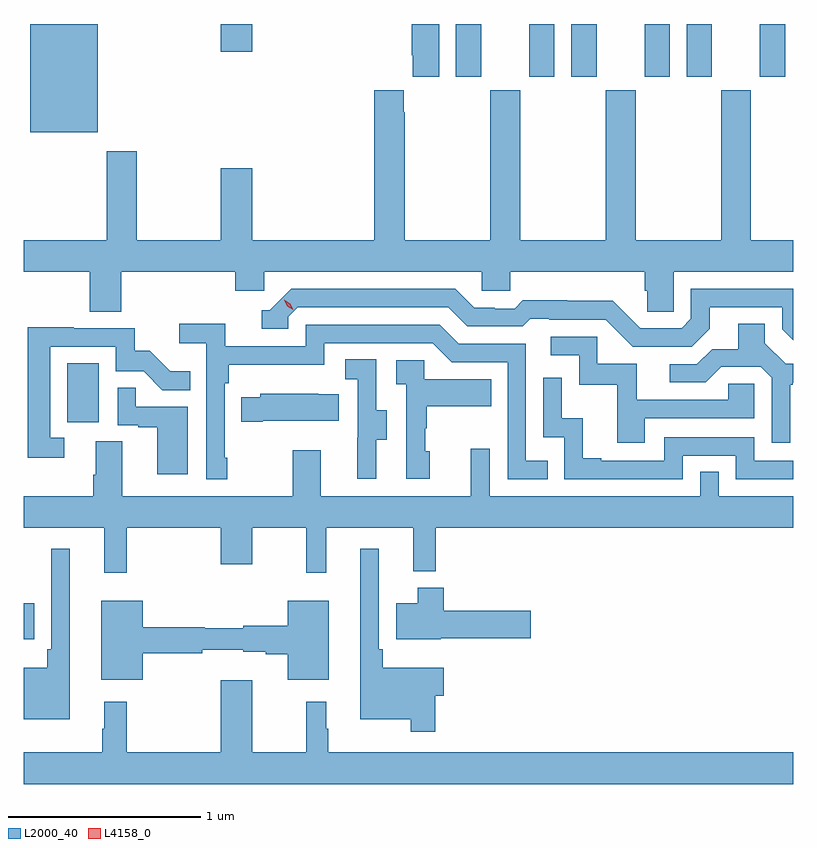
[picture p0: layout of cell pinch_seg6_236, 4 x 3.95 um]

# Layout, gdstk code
import gdstk
lib = gdstk.Library(unit=1e-6, precision=1e-09)
def R(c, l, rs):  # rectangles x0, y0, x1, y1
    for r in rs: c.add(gdstk.rectangle(r[:2], r[2:], *l))
def P(c, l, *ps):  # polygons
    for p in ps: c.add(gdstk.Polygon(p, *l))
L2000_40 = (2000, 40)
L4158_0 = (4158, 0)

pinch_seg6_236 = lib.new_cell('pinch_seg6_236')
R(pinch_seg6_236, L2000_40, [(1099.049,922.781,1099.102,922.969), (1099.274,923.91,1099.438,924.217), (1099.082,925.418,1099.432,925.981), (1101.296,925.707,1101.427,925.981), (1101.677,925.707,1101.808,925.981), (1101.896,925.707,1102.027,925.981), (1102.277,925.707,1102.408,925.981), (1102.496,925.707,1102.627,925.981), (1102.877,925.707,1103.008,925.981), (1100.072,925.836,1100.236,925.981)])
P(pinch_seg6_236, L2000_40, [(1101.208,925.981),(1101.065,925.981),(1101.065,925.819),(1101.071,925.819),(1101.071,925.707),(1101.208,925.707)],
  [(1099.556,924.692),(1100.147,924.692),(1100.147,924.594),(1100.298,924.594),(1100.298,924.692),(1101.429,924.692),(1101.429,924.594),(1101.579,924.594),(1101.579,924.692),(1102.277,924.692),(1102.277,924.594),(1102.291,924.594),(1102.291,924.484),(1102.428,924.484),(1102.428,924.692),(1103.049,924.692),(1103.049,924.856),(1102.83,924.856),(1102.83,925.636),(1102.675,925.636),(1102.675,924.856),(1102.23,924.856),(1102.23,925.636),(1102.075,925.636),(1102.075,924.856),(1101.63,924.856),(1101.63,925.636),(1101.475,925.636),(1101.475,924.856),(1101.03,924.856),(1101.03,925.523),(1101.025,925.523),(1101.025,925.636),(1100.87,925.636),(1100.87,924.856),(1100.236,924.856),(1100.236,925.231),(1100.072,925.231),(1100.072,924.856),(1099.635,924.856),(1099.635,925.318),(1099.48,925.318),(1099.48,924.856),(1099.049,924.856),(1099.049,924.692),(1099.391,924.692),(1099.391,924.484),(1099.556,924.484)],
  [(1102.615,924.397),(1102.615,924.507),(1102.992,924.507),(1102.992,924.393),(1103.049,924.336),(1103.049,924.603),(1102.518,924.603),(1102.518,924.447),(1102.47,924.399),(1102.254,924.399),(1102.112,924.541),(1101.876,924.541),(1101.876,924.544),(1101.643,924.544),(1101.601,924.501),(1101.498,924.501),(1101.498,924.504),(1101.391,924.504),(1101.292,924.603),(1100.439,924.603),(1100.328,924.492),(1100.285,924.492),(1100.285,924.396),(1100.424,924.396),(1100.424,924.459),(1100.472,924.507),(1101.255,924.507),(1101.354,924.408),(1101.643,924.408),(1101.682,924.447),(1101.781,924.447),(1101.781,924.444),(1102.074,924.444),(1102.215,924.303),(1102.521,924.303)],
  [(1103.035,924.105),(1103.047,924.105),(1103.047,924.116),(1103.049,924.116),(1103.049,924.213),(1103.01,924.213),(1102.903,924.32),(1102.903,924.422),(1102.763,924.422),(1102.763,924.29),(1102.628,924.29),(1102.548,924.21),(1102.407,924.21),(1102.407,924.117),(1102.594,924.117),(1102.675,924.198),(1102.881,924.198),(1102.938,924.141),(1102.938,923.802),(1103.035,923.802)],
  [(1100.107,923.725),(1100.094,923.725),(1100.094,924.113),(1100.114,924.113),(1100.114,924.209),(1100.61,924.209),(1100.61,924.321),(1101.174,924.321),(1101.273,924.222),(1101.564,924.222),(1101.564,923.613),(1101.773,923.613),(1101.773,923.709),(1101.66,923.709),(1101.66,924.318),(1101.31,924.318),(1101.211,924.417),(1100.514,924.417),(1100.514,924.306),(1100.096,924.306),(1100.096,924.422),(1099.857,924.422),(1099.857,924.32),(1099.998,924.32),(1099.998,923.613),(1100.107,923.613)],
  [(1099.258,923.829),(1099.185,923.829),(1099.185,924.303),(1099.527,924.303),(1099.527,924.174),(1099.671,924.174),(1099.769,924.076),(1099.913,924.076),(1099.913,924.175),(1099.809,924.175),(1099.702,924.282),(1099.626,924.282),(1099.626,924.399),(1099.307,924.399),(1099.307,924.404),(1099.069,924.404),(1099.069,923.724),(1099.258,923.724)],
  [(1102.279,923.931),(1102.848,923.931),(1102.848,924.111),(1102.711,924.111),(1102.711,924.027),(1102.237,924.027),(1102.237,924.213),(1102.032,924.213),(1102.032,924.354),(1101.789,924.354),(1101.789,924.258),(1101.936,924.258),(1101.936,924.105),(1102.135,924.105),(1102.135,923.802),(1102.279,923.802)],
  [(1100.881,923.818),(1100.935,923.818),(1100.935,923.973),(1100.88,923.973),(1100.88,924.236),(1100.721,924.236),(1100.721,924.133),(1100.784,924.133),(1100.784,923.829),(1100.783,923.829),(1100.783,923.616),(1100.881,923.616)],
  [(1101.16,923.76),(1101.135,923.76),(1101.135,923.879),(1101.145,923.879),(1101.145,923.993),(1101.479,923.993),(1101.479,924.133),(1101.132,924.133),(1101.132,924.231),(1100.985,924.231),(1100.985,924.107),(1101.036,924.107),(1101.036,923.616),(1101.16,923.616)],
  [(1102.476,923.736),(1102.752,923.736),(1102.752,923.613),(1103.049,923.613),(1103.049,923.709),(1102.848,923.709),(1102.848,923.832),(1102.38,923.832),(1102.38,923.709),(1102.051,923.709),(1102.051,923.722),(1101.956,923.722),(1101.956,923.93),(1101.846,923.93),(1101.846,924.142),(1101.75,924.142),(1101.75,923.832),(1101.858,923.832),(1101.858,923.613),(1102.476,923.613)],
  [(1099.9,923.991),(1099.631,923.991),(1099.631,924.089),(1099.536,924.089),(1099.536,923.895),(1099.643,923.895),(1099.643,923.883),(1099.742,923.883),(1099.742,923.64),(1099.9,923.64)],
  [(1100.29,923.918),(1100.687,923.918),(1100.687,924.055),(1100.579,924.055),(1100.579,924.058),(1100.277,924.058),(1100.277,924.04),(1100.179,924.04),(1100.179,923.911),(1100.29,923.911)],
  [(1099.583,923.36),(1100.072,923.36),(1100.072,923.172),(1100.236,923.172),(1100.236,923.36),(1100.518,923.36),(1100.518,923.127),(1100.621,923.127),(1100.621,923.36),(1101.074,923.36),(1101.074,923.135),(1101.191,923.135),(1101.191,923.36),(1103.049,923.36),(1103.049,923.524),(1102.662,923.524),(1102.662,923.651),(1102.566,923.651),(1102.566,923.524),(1101.471,923.524),(1101.471,923.773),(1101.374,923.773),(1101.374,923.524),(1100.593,923.524),(1100.593,923.764),(1100.446,923.764),(1100.446,923.524),(1099.561,923.524),(1099.561,923.81),(1099.421,923.81),(1099.421,923.636),(1099.409,923.636),(1099.409,923.524),(1099.049,923.524),(1099.049,923.36),(1099.466,923.36),(1099.466,923.127),(1099.583,923.127)],
  [(1101.188,922.486),(1101.232,922.486),(1101.232,922.633),(1100.915,922.633),(1100.915,922.729),(1100.895,922.729),(1100.895,923.251),(1100.798,923.251),(1100.798,922.364),(1101.06,922.364),(1101.06,922.299),(1101.188,922.299)],
  [(1099.288,923.251),(1099.191,923.251),(1099.191,922.729),(1099.171,922.729),(1099.171,922.633),(1099.049,922.633),(1099.049,922.364),(1099.288,922.364)],
  [(1101.216,922.787),(1101.685,922.787),(1101.685,922.929),(1101.233,922.929),(1101.233,923.05),(1101.098,923.05),(1101.098,922.969),(1100.984,922.969),(1100.984,922.781),(1101.216,922.781)],
  [(1099.666,922.708),(1099.976,922.708),(1099.976,922.727),(1100.19,922.727),(1100.19,922.715),(1100.307,922.715),(1100.307,922.703),(1100.42,922.703),(1100.42,922.571),(1100.635,922.571),(1100.635,922.981),(1100.42,922.981),(1100.42,922.85),(1100.19,922.85),(1100.19,922.837),(1099.99,922.837),(1099.99,922.844),(1099.666,922.844),(1099.666,922.981),(1099.451,922.981),(1099.451,922.571),(1099.666,922.571)],
  [(1103.049,922.192),(1100.632,922.192),(1100.632,922.316),(1100.62,922.316),(1100.62,922.456),(1100.518,922.456),(1100.518,922.192),(1100.236,922.192),(1100.236,922.567),(1100.072,922.567),(1100.072,922.192),(1099.583,922.192),(1099.583,922.456),(1099.466,922.456),(1099.466,922.316),(1099.455,922.316),(1099.455,922.192),(1099.049,922.192),(1099.049,922.028),(1103.049,922.028)])
P(pinch_seg6_236, L4158_0, [(1100.449,924.494),(1100.419,924.514),(1100.402,924.546),(1100.402,924.547),(1100.403,924.547),(1100.434,924.527),(1100.45,924.494),(1100.45,924.494)])

lib.write_gds('pinch_seg6_236.gds')
